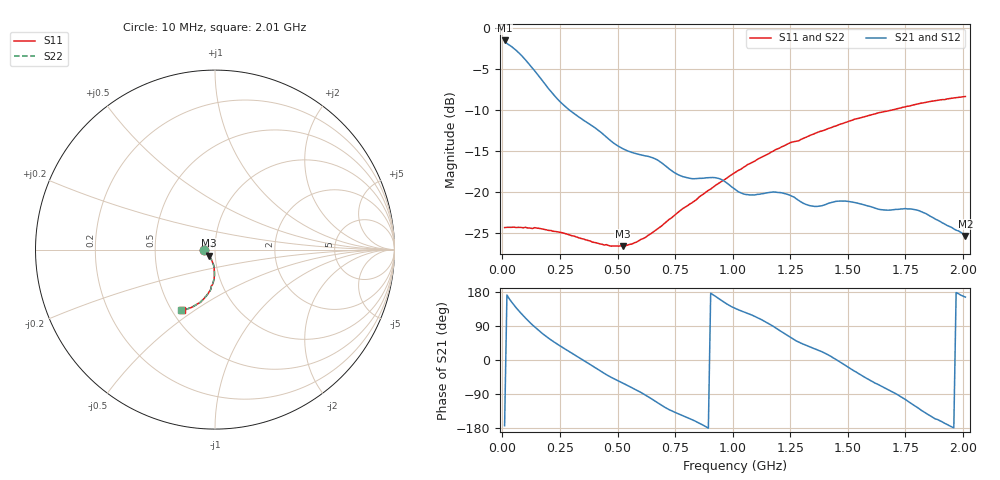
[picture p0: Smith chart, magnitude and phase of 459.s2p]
# MHz S MA R 50
!  freq  S11  S21  S12  S22
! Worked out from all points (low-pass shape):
!   200 points, 10 MHz to 2.01 GHz, reference 50 ohm
!   highest |S21| = -1.46 dB at 10 MHz (marker M1); lowest = -25.4 dB at 2.01 GHz (marker M2)
!   |S21| within 3 dB of the highest: start of sweep to 119.3 MHz
!   lowest |S11| = -26.6 dB at 522.6 MHz (marker M3), VSWR 1.10, Z = 46.7 - j3.09 ohm
!   |S11| at or under -10 dB: start of sweep to 1.687 GHz
!   |S22| runs from -26.7 to -8.3 dB; largest |S21 - S12| = 0.0011
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10  0.06045 -179.7  0.8448 -173.4  0.8451 -173.4  0.06048 -179.7
20.05025  0.06068 -179.2  0.8098 171.5  0.8101 171.5  0.06049 -179.1
30.1005  0.06064 -178.9  0.7928 161.7  0.7932 161.7  0.0606 -178.7
50.20101  0.06082 -177.8  0.7554 145.3  0.7562 145.3  0.06078 -177.7
70.30151  0.06065 -176.8  0.7128 130.6  0.7135 130.6  0.06054 -176.8
100.4523  0.0607 -175.5  0.6429 110.9  0.6436 110.8  0.06052 -175.3
150.7035  0.05995 -173.8  0.5282 81.9  0.528 81.9  0.05981 -174.0
200.9548  0.05809 -172.3  0.4278 57.4  0.4284 57.4  0.05814 -172.3
271.3065  0.05566 -168.1  0.3348 29.4  0.335 29.4  0.05559 -168.1
351.7085  0.05149 -161.3  0.275 -0.6  0.275 -0.7  0.05132 -161.3
432.1106  0.04785 -150.3  0.229 -31.6  0.2288 -31.6  0.04773 -150.2
522.5628  0.04652 -134.8  0.1839 -60.8  0.1837 -60.8  0.04629 -134.9
683.3668  0.06062 -108.3  0.1534 -116.8  0.1535 -116.8  0.06061 -108.5
773.8191  0.0771 -99.1  0.1255 -144.5  0.1254 -144.4  0.07705 -98.7
894.4221  0.1022 -92.6  0.1222 -179.9  0.1223 -179.9  0.1024 -92.6
1015.025  0.1326 -91.4  0.1024 135.0  0.1025 135.1  0.1322 -91.5
1185.879  0.1812 -93.0  0.09965 84.9  0.0997 84.9  0.1808 -92.8
1346.683  0.2246 -96.5  0.08183 31.8  0.08178 31.8  0.225 -96.4
1487.387  0.2654 -101.0  0.08785 -13.9  0.08778 -13.8  0.2654 -100.8
1678.342  0.3138 -107.1  0.0773 -79.2  0.07733 -79.2  0.3139 -107.2
1808.995  0.3471 -112.0  0.07669 -128.4  0.07678 -128.5  0.3473 -112.0
2010  0.3835 -119.1  0.05365 166.0  0.05365 166.2  0.3837 -119.3
